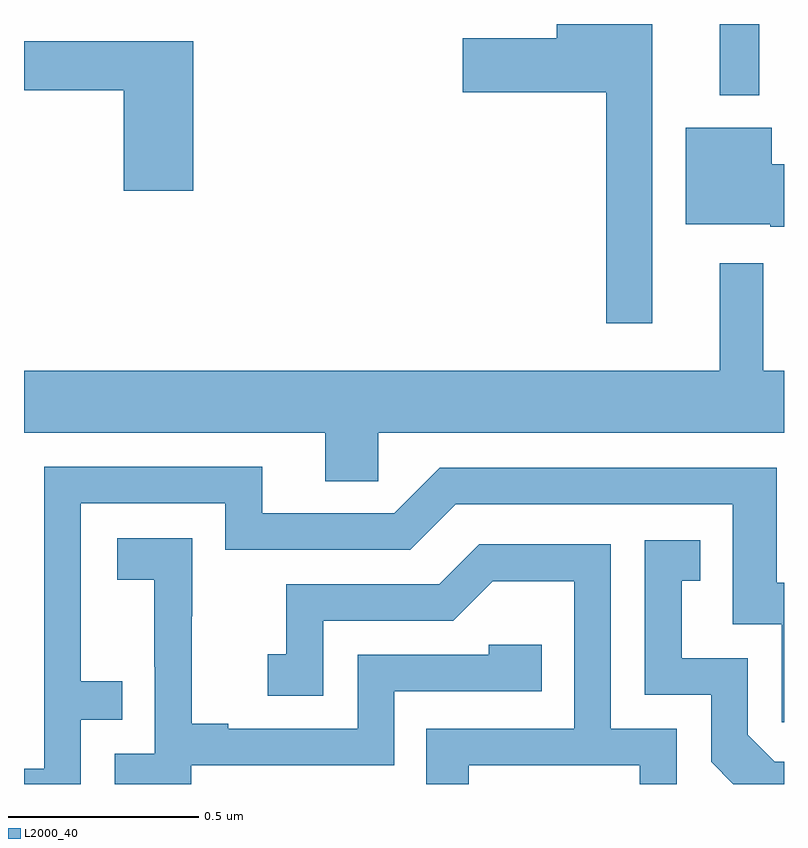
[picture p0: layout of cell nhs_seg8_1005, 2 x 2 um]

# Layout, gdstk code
import gdstk
lib = gdstk.Library(unit=1e-6, precision=1e-09)
def R(c, l, rs):  # rectangles x0, y0, x1, y1
    for r in rs: c.add(gdstk.rectangle(r[:2], r[2:], *l))
def P(c, l, *ps):  # polygons
    for p in ps: c.add(gdstk.Polygon(p, *l))
L2000_40 = (2000, 40)

nhs_seg8_1005 = lib.new_cell('nhs_seg8_1005')
R(nhs_seg8_1005, L2000_40, [(125.831,1126.712,125.935,1126.9)])
P(nhs_seg8_1005, L2000_40, [(125.653,1126.9),(125.402,1126.9),(125.402,1126.863),(125.154,1126.863),(125.154,1126.721),(125.532,1126.721),(125.532,1126.113),(125.653,1126.113)],
  [(124.445,1126.855),(124,1126.855),(124,1126.726),(124.262,1126.726),(124.262,1126.461),(124.445,1126.461)],
  [(126,1126.531),(125.968,1126.531),(125.968,1126.627),(125.741,1126.627),(125.741,1126.373),(125.964,1126.373),(125.964,1126.366),(126,1126.366)],
  [(124.932,1125.824),(126,1125.824),(126,1125.988),(125.945,1125.988),(125.945,1126.27),(125.831,1126.27),(125.831,1125.988),(124,1125.988),(124,1125.824),(124.793,1125.824),(124.793,1125.697),(124.932,1125.697)],
  [(124.149,1125.069),(124.259,1125.069),(124.259,1125.17),(124.149,1125.17),(124.149,1125.639),(124.53,1125.639),(124.53,1125.516),(125.016,1125.516),(125.136,1125.636),(125.865,1125.636),(125.865,1125.321),(125.994,1125.321),(125.994,1125.063),(126,1125.063),(126,1125.43),(125.981,1125.43),(125.981,1125.732),(125.094,1125.732),(124.974,1125.612),(124.627,1125.612),(124.627,1125.735),(124.053,1125.735),(124.053,1124.94),(124,1124.94),(124,1124.9),(124.149,1124.9)],
  [(124.44,1124.949),(124.974,1124.949),(124.974,1125.144),(125.363,1125.144),(125.363,1125.267),(125.223,1125.267),(125.223,1125.24),(124.878,1125.24),(124.878,1125.045),(124.537,1125.045),(124.537,1125.058),(124.442,1125.058),(124.442,1125.341),(124.443,1125.341),(124.443,1125.547),(124.245,1125.547),(124.245,1125.437),(124.343,1125.437),(124.343,1125.209),(124.344,1125.209),(124.344,1124.979),(124.239,1124.979),(124.239,1124.9),(124.44,1124.9)],
  [(126,1124.958),(125.976,1124.958),(125.904,1125.03),(125.904,1125.231),(125.731,1125.231),(125.731,1125.435),(125.78,1125.435),(125.78,1125.541),(125.634,1125.541),(125.634,1125.135),(125.808,1125.135),(125.808,1124.958),(125.867,1124.9),(126,1124.9)],
  [(125.17,1124.949),(125.621,1124.949),(125.621,1124.9),(125.718,1124.9),(125.718,1125.045),(125.544,1125.045),(125.544,1125.531),(125.198,1125.531),(125.093,1125.426),(124.69,1125.426),(124.69,1125.241),(124.641,1125.241),(124.641,1125.132),(124.788,1125.132),(124.788,1125.33),(125.13,1125.33),(125.234,1125.434),(125.448,1125.434),(125.448,1125.045),(125.059,1125.045),(125.059,1124.9),(125.17,1124.9)])

lib.write_gds('nhs_seg8_1005.gds')
